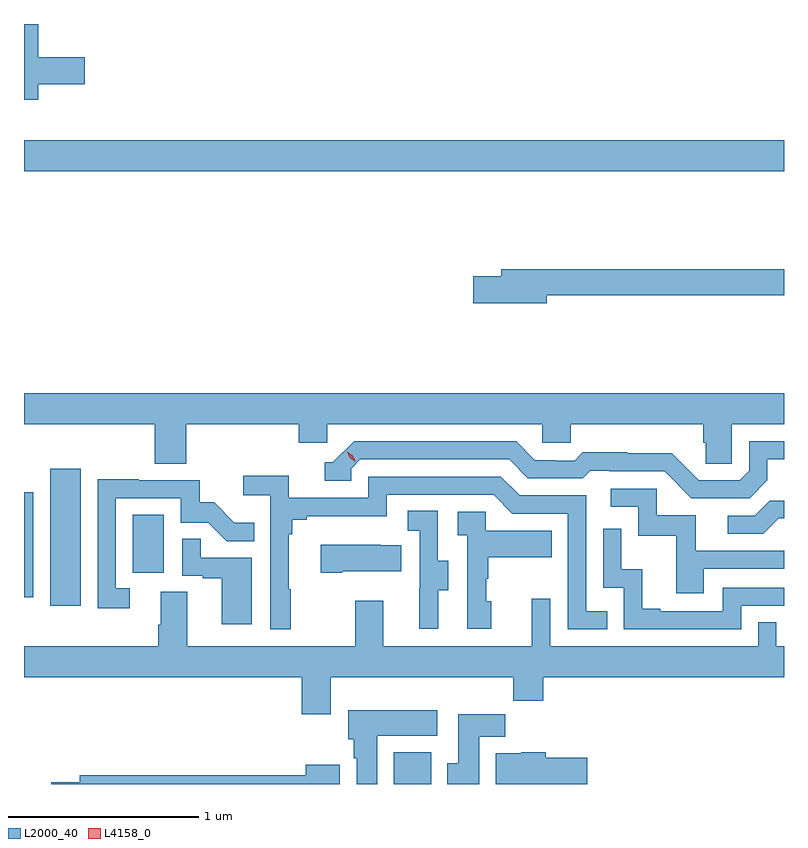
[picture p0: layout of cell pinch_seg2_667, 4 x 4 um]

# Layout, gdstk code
import gdstk
lib = gdstk.Library(unit=1e-6, precision=1e-09)
def R(c, l, rs):  # rectangles x0, y0, x1, y1
    for r in rs: c.add(gdstk.rectangle(r[:2], r[2:], *l))
def P(c, l, *ps):  # polygons
    for p in ps: c.add(gdstk.Polygon(p, *l))
L2000_40 = (2000, 40)
L4158_0 = (4158, 0)

pinch_seg2_667 = lib.new_cell('pinch_seg2_667')
R(pinch_seg2_667, L2000_40, [(1079.115,592.463,1079.311,592.63), (1077.305,593.4,1077.466,594.121), (1077.168,593.446,1077.216,593.998), (1077.74,593.574,1077.904,593.881), (1077.168,595.688,1081.168,595.852)])
P(pinch_seg2_667, L2000_40, [(1077.244,596.146),(1077.487,596.146),(1077.487,596.288),(1077.244,596.288),(1077.244,596.463),(1077.168,596.463),(1077.168,596.064),(1077.244,596.064)],
  [(1079.92,595.036),(1081.168,595.036),(1081.168,595.172),(1079.681,595.172),(1079.681,595.136),(1079.532,595.136),(1079.532,594.994),(1079.92,594.994)],
  [(1078.022,594.356),(1078.613,594.356),(1078.613,594.258),(1078.764,594.258),(1078.764,594.356),(1079.895,594.356),(1079.895,594.258),(1080.045,594.258),(1080.045,594.356),(1080.743,594.356),(1080.743,594.258),(1080.757,594.258),(1080.757,594.148),(1080.894,594.148),(1080.894,594.356),(1081.168,594.356),(1081.168,594.52),(1077.168,594.52),(1077.168,594.356),(1077.857,594.356),(1077.857,594.148),(1078.022,594.148)],
  [(1081.081,594.061),(1081.081,594.171),(1081.168,594.171),(1081.168,594.267),(1080.984,594.267),(1080.984,594.111),(1080.936,594.063),(1080.72,594.063),(1080.578,594.205),(1080.342,594.205),(1080.342,594.208),(1080.109,594.208),(1080.067,594.165),(1079.964,594.165),(1079.964,594.168),(1079.857,594.168),(1079.758,594.267),(1078.905,594.267),(1078.794,594.156),(1078.751,594.156),(1078.751,594.06),(1078.89,594.06),(1078.89,594.123),(1078.938,594.171),(1079.721,594.171),(1079.82,594.072),(1080.109,594.072),(1080.148,594.111),(1080.247,594.111),(1080.247,594.108),(1080.54,594.108),(1080.681,593.967),(1080.987,593.967)],
  [(1078.573,593.489),(1078.561,593.489),(1078.561,593.777),(1078.58,593.777),(1078.58,593.854),(1078.657,593.854),(1078.657,593.873),(1079.076,593.873),(1079.076,593.985),(1079.64,593.985),(1079.739,593.886),(1080.03,593.886),(1080.03,593.277),(1080.239,593.277),(1080.239,593.373),(1080.126,593.373),(1080.126,593.982),(1079.776,593.982),(1079.677,594.081),(1078.98,594.081),(1078.98,593.97),(1078.562,593.97),(1078.562,594.086),(1078.323,594.086),(1078.323,593.984),(1078.464,593.984),(1078.464,593.277),(1078.573,593.277)],
  [(1077.724,593.493),(1077.651,593.493),(1077.651,593.967),(1077.993,593.967),(1077.993,593.838),(1078.137,593.838),(1078.235,593.74),(1078.379,593.74),(1078.379,593.839),(1078.275,593.839),(1078.168,593.946),(1078.092,593.946),(1078.092,594.063),(1077.773,594.063),(1077.773,594.068),(1077.555,594.068),(1077.555,593.388),(1077.724,593.388)],
  [(1080.745,593.595),(1081.168,593.595),(1081.168,593.691),(1080.703,593.691),(1080.703,593.877),(1080.498,593.877),(1080.498,594.018),(1080.255,594.018),(1080.255,593.922),(1080.402,593.922),(1080.402,593.769),(1080.601,593.769),(1080.601,593.466),(1080.745,593.466)],
  [(1081.141,593.862),(1081.168,593.862),(1081.168,593.954),(1081.094,593.954),(1081.014,593.874),(1080.873,593.874),(1080.873,593.781),(1081.06,593.781)],
  [(1079.347,593.482),(1079.401,593.482),(1079.401,593.637),(1079.346,593.637),(1079.346,593.9),(1079.187,593.9),(1079.187,593.797),(1079.25,593.797),(1079.25,593.493),(1079.249,593.493),(1079.249,593.28),(1079.347,593.28)],
  [(1079.626,593.424),(1079.601,593.424),(1079.601,593.543),(1079.611,593.543),(1079.611,593.657),(1079.945,593.657),(1079.945,593.797),(1079.598,593.797),(1079.598,593.895),(1079.451,593.895),(1079.451,593.771),(1079.502,593.771),(1079.502,593.28),(1079.626,593.28)],
  [(1080.942,593.4),(1081.168,593.4),(1081.168,593.496),(1080.846,593.496),(1080.846,593.373),(1080.517,593.373),(1080.517,593.386),(1080.422,593.386),(1080.422,593.594),(1080.312,593.594),(1080.312,593.806),(1080.216,593.806),(1080.216,593.496),(1080.324,593.496),(1080.324,593.277),(1080.942,593.277)],
  [(1078.366,593.655),(1078.097,593.655),(1078.097,593.753),(1078.002,593.753),(1078.002,593.559),(1078.109,593.559),(1078.109,593.547),(1078.208,593.547),(1078.208,593.304),(1078.366,593.304)],
  [(1078.843,593.582),(1079.153,593.582),(1079.153,593.719),(1079.045,593.719),(1079.045,593.722),(1078.731,593.722),(1078.731,593.575),(1078.843,593.575)],
  [(1078.783,593.024),(1079.743,593.024),(1079.743,592.9),(1079.9,592.9),(1079.9,593.024),(1081.168,593.024),(1081.168,593.188),(1081.128,593.188),(1081.128,593.315),(1081.032,593.315),(1081.032,593.188),(1079.937,593.188),(1079.937,593.437),(1079.84,593.437),(1079.84,593.188),(1079.059,593.188),(1079.059,593.428),(1078.912,593.428),(1078.912,593.188),(1078.027,593.188),(1078.027,593.474),(1077.887,593.474),(1077.887,593.3),(1077.875,593.3),(1077.875,593.188),(1077.168,593.188),(1077.168,593.024),(1078.631,593.024),(1078.631,592.83),(1078.783,592.83)],
  [(1079.026,592.718),(1079.344,592.718),(1079.344,592.852),(1078.874,592.852),(1078.874,592.698),(1078.904,592.698),(1078.904,592.598),(1078.919,592.598),(1078.919,592.463),(1079.026,592.463)],
  [(1079.563,592.712),(1079.702,592.712),(1079.702,592.831),(1079.453,592.831),(1079.453,592.572),(1079.396,592.572),(1079.396,592.463),(1079.563,592.463)],
  [(1080.133,592.602),(1079.915,592.602),(1079.915,592.63),(1079.784,592.63),(1079.784,592.624),(1079.651,592.624),(1079.651,592.463),(1080.133,592.463)],
  [(1078.831,592.564),(1078.652,592.564),(1078.652,592.508),(1077.461,592.508),(1077.461,592.472),(1077.312,592.472),(1077.312,592.463),(1078.831,592.463)])
P(pinch_seg2_667, L4158_0, [(1078.915,594.158),(1078.884,594.178),(1078.868,594.21),(1078.868,594.211),(1078.868,594.211),(1078.899,594.191),(1078.915,594.158),(1078.915,594.158)])

lib.write_gds('pinch_seg2_667.gds')
